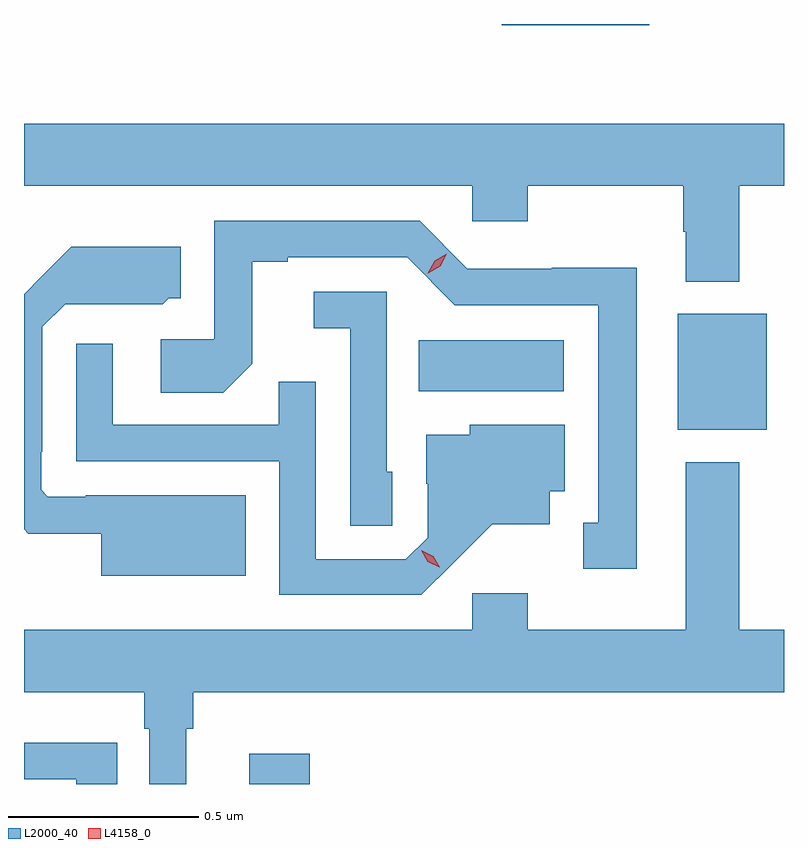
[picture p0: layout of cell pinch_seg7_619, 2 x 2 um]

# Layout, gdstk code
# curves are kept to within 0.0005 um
import gdstk
lib = gdstk.Library(unit=1e-6, precision=1e-09)
def R(c, l, rs):  # rectangles x0, y0, x1, y1
    for r in rs: c.add(gdstk.rectangle(r[:2], r[2:], *l))
def P(c, l, *ps):  # polygons
    for p in ps: c.add(gdstk.Polygon(p, *l))
L2000_40 = (2000, 40)
L4158_0 = (4158, 0)

pinch_seg7_619 = lib.new_cell('pinch_seg7_619')
R(pinch_seg7_619, L2000_40, [(182.654,1049.658,182.813,1049.737), (183.782,1050.59,184.015,1050.895), (183.1,1050.692,183.481,1050.826), (183.318,1051.655,183.706,1051.658)])
P(pinch_seg7_619, L2000_40, [(182.061,1051.232),(183.24,1051.232),(183.24,1051.139),(183.387,1051.139),(183.387,1051.232),(183.796,1051.232),(183.796,1051.111),(183.803,1051.111),(183.803,1050.98),(183.943,1050.98),(183.943,1051.232),(184.061,1051.232),(184.061,1051.396),(182.061,1051.396)],
  [(183.673,1051.016),(183.45,1051.016),(183.45,1051.014),(183.228,1051.014),(183.102,1051.14),(182.562,1051.14),(182.562,1050.828),(182.421,1050.828),(182.421,1050.688),(182.585,1050.688),(182.661,1050.764),(182.661,1051.032),(182.755,1051.032),(182.755,1051.044),(183.069,1051.044),(183.195,1050.918),(183.572,1050.918),(183.572,1050.345),(183.533,1050.345),(183.533,1050.225),(183.673,1050.225)],
  [(182.644,1050.418),(182.224,1050.418),(182.224,1050.414),(182.124,1050.414),(182.106,1050.432),(182.106,1050.532),(182.109,1050.532),(182.109,1050.861),(182.169,1050.921),(182.292,1050.921),(182.292,1050.92),(182.426,1050.92),(182.442,1050.936),(182.473,1050.936),(182.473,1051.072),(182.185,1051.072),(182.061,1050.947),(182.061,1050.328),(182.072,1050.317),(182.264,1050.317),(182.264,1050.206),(182.644,1050.206)],
  [(183.03,1050.48),(183.015,1050.48),(183.015,1050.954),(182.823,1050.954),(182.823,1050.857),(182.919,1050.857),(182.919,1050.337),(183.03,1050.337)],
  [(183.19,1050.239),(183.293,1050.341),(183.445,1050.341),(183.445,1050.428),(183.484,1050.428),(183.484,1050.604),(183.234,1050.604),(183.234,1050.577),(183.119,1050.577),(183.119,1050.448),(183.123,1050.448),(183.123,1050.306),(183.066,1050.249),(182.829,1050.249),(182.829,1050.716),(182.731,1050.716),(182.731,1050.603),(182.295,1050.603),(182.295,1050.817),(182.199,1050.817),(182.199,1050.507),(182.733,1050.507),(182.733,1050.156),(183.106,1050.156)],
  [(182.488,1049.804),(182.507,1049.804),(182.507,1049.9),(184.061,1049.9),(184.061,1050.064),(183.943,1050.064),(183.943,1050.505),(183.803,1050.505),(183.803,1050.064),(183.387,1050.064),(183.387,1050.16),(183.24,1050.16),(183.24,1050.064),(182.061,1050.064),(182.061,1049.9),(182.378,1049.9),(182.378,1049.804),(182.391,1049.804),(182.391,1049.658),(182.488,1049.658)],
  [(182.306,1049.766),(182.198,1049.766),(182.198,1049.767),(182.061,1049.767),(182.061,1049.67),(182.198,1049.67),(182.198,1049.658),(182.306,1049.658)])
P(pinch_seg7_619, L4158_0, [(183.124,1051.002),(183.124,1051.002),(183.142,1051.035),(183.173,1051.054),(183.174,1051.054),(183.174,1051.054),(183.156,1051.021),(183.125,1051.002)],
  [(183.154,1050.228),(183.124,1050.243),(183.107,1050.273),(183.107,1050.273),(183.107,1050.273),(183.138,1050.258),(183.155,1050.228),(183.155,1050.228)])

lib.write_gds('pinch_seg7_619.gds')
